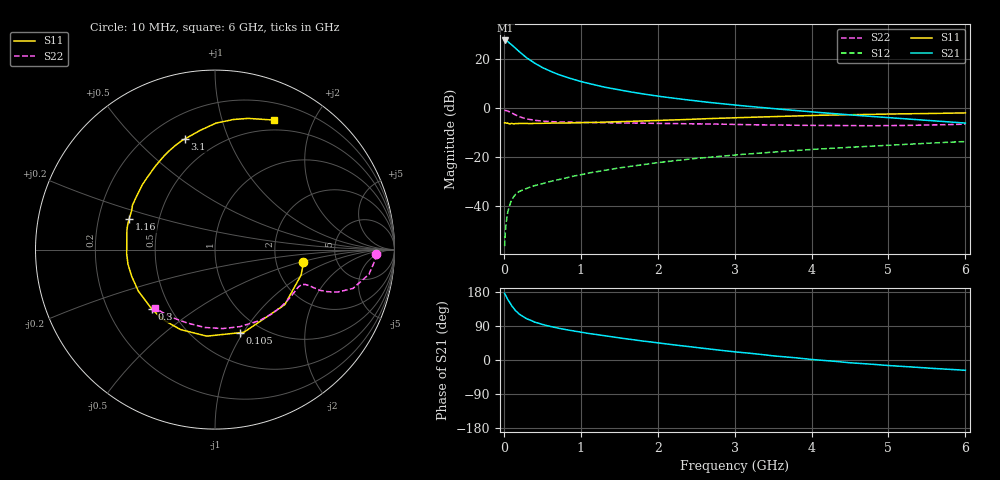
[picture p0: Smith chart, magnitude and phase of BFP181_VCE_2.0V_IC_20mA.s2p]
! Infineon Technologies  Discrete & RF Semiconductors
! BFP181
! VCE = 2.0 V,  IC =  20 mA
! Common Emitter S-Parameters:  Jan 2016
# GHz  S  MA  R  50
!  f  S11  S21  S12  S22
! GHz  MAG  ANG  MAG  ANG  MAG  ANG  MAG  ANG
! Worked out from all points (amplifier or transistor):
!   210 points, 10 MHz to 6 GHz, reference 50 ohm
!   highest |S21| = 27.6 dB at 20 MHz (marker M1)
!   |S21| within 3 dB of that: start of sweep to 145.7 MHz
!   unconditionally stable (mu >= 1): start of sweep to 19.87 MHz; 335.7 MHz to end of sweep
!   at 185 MHz: K = 0.68, MSG = 29.0 dB, |S12| = -34.5 dB
!   at 1.52 GHz: K = 1.77, MAG = 10.7 dB, |S12| = -24.4 dB
!   at 6 GHz: K = 1.33, MAG = 0.3 dB, |S12| = -13.7 dB
!   S11 on the Smith chart (normalised r, x): 10 MHz: 2.87, -0.54; 105 MHz: 0.80, -0.97; 300 MHz: 0.40, -0.34; 1.16 GHz: 0.34, +0.15; 3.1 GHz: 0.34, +0.71; 6 GHz: 0.38, +1.49
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0.01  0.498 -8.2  24 175.8  0.0015 79.0  0.8996 -1.6
0.02  0.5003 -16.4  24 172.0  0.003 88.3  0.8949 -3.6
0.05  0.4953 -38.3  22.93 159.9  0.0073 75.0  0.8687 -9.1
0.1  0.488 -70.7  19.76 143.3  0.0132 61.9  0.7992 -15.7
0.105  0.4836 -73.1  19.42 142.2  0.0136 61.1  0.7915 -16.0
0.15  0.4843 -95.4  16.77 130.4  0.017 55.3  0.7229 -19.1
0.2  0.4851 -113.3  14.22 121.1  0.0197 52.1  0.6663 -20.6
0.24  0.484 -123.8  12.52 115.6  0.0209 50.1  0.634 -21.1
0.26  0.4845 -128.4  11.79 113.0  0.0215 49.5  0.6201 -21.2
0.3  0.4833 -136.7  10.51 108.6  0.0229 49.0  0.5967 -21.1
0.4  0.4856 -151.5  8.257 100.0  0.0259 49.0  0.5601 -21.0
0.5  0.4875 -162.1  6.717 93.7  0.0283 49.6  0.5397 -21.1
0.6  0.4916 -170.4  5.697 88.7  0.0314 51.4  0.5276 -21.6
0.7  0.4926 -177.0  4.879 84.2  0.0341 53.0  0.5188 -22.2
1.02  0.5036 166.4  3.416 72.7  0.0438 55.2  0.5058 -25.5
1.16  0.5076 160.4  3.021 68.5  0.0485 55.8  0.5027 -27.4
1.5  0.5251 148.5  2.335 58.3  0.0597 56.4  0.4962 -32.4
2.02  0.5545 131.7  1.73 44.7  0.077 54.9  0.4865 -41.3
3.1  0.6388 105.2  1.112 19.8  0.1127 48.3  0.4579 -62.9
4.1  0.7098 87.9  0.81 -0.1  0.1451 40.4  0.4394 -87.0
5.1  0.7565 74.8  0.618 -15.8  0.1766 32.3  0.438 -113.4
6  0.7937 65.4  0.492 -27.2  0.2064 24.0  0.4675 -136.0
